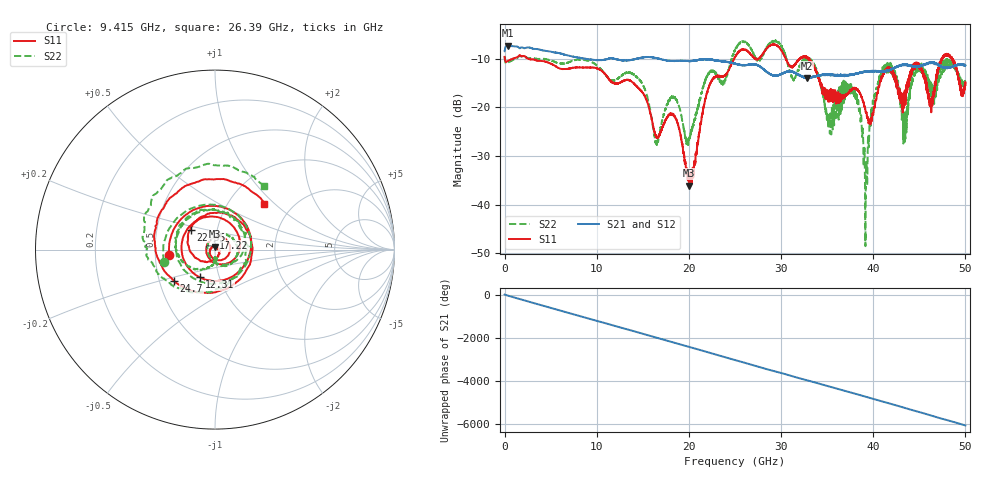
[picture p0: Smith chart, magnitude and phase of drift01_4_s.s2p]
!Created with skrf (http://scikit-rf.org).
# Hz S RI R 50.0
!freq ReS11 ImS11 ReS21 ImS21 ReS12 ImS12 ReS22 ImS22
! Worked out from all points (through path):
!   10001 points, 300 kHz to 50 GHz, reference 50 ohm
!   highest |S21| = -7.33 dB at 320.3 MHz (marker M1); lowest = -14.0 dB at 32.77 GHz (marker M2)
!   group delay of S21, straight-line fit = 335 ps
!   lowest |S11| = -36.1 dB at 20.01 GHz (marker M3), VSWR 1.03, Z = 49.8 + j1.56 ohm
!   |S11| at or under -10 dB: 2.566 GHz to 24.9 GHz (22.34 GHz wide, 163 % of centre); 30.5 GHz to 32.01 GHz (1.512 GHz wide, 4.84 % of centre); 33.05 GHz to 47.41 GHz (14.36 GHz wide, 35.7 % of centre) (the widest 3 of 27)
!   |S22| runs from -48.6 to -6.2 dB; largest |S21 - S12| = 0.0077
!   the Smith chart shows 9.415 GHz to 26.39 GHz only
!   S11 on the Smith chart (normalised r, x): 9.415 GHz: 0.59, -0.04; 12.31 GHz: 0.81, -0.26; 17.22 GHz: 0.98, +0.13; 22.35 GHz: 0.74, +0.17; 24.7 GHz: 0.60, -0.23; 26.39 GHz: 1.45, +0.87
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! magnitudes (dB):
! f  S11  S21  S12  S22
! 300 kHz  -9.6  -8.4  -8.5  -9.5
! 320.3 MHz  -10.5  -7.3  -7.3  -10.9
! 8.335 GHz  -11.8  -9.9  -9.9  -10.2
! 9.415 GHz  -11.8  -10.2  -10.2  -10.7
! 12.31 GHz  -15.1  -10.2  -10.2  -14.1
! 16.67 GHz  -26.3  -10.0  -10.0  -27.0
! 17.22 GHz  -23.7  -10.2  -10.2  -21.8
! 20.01 GHz  -36.1  -10.5  -10.5  -26.8
! 22.35 GHz  -15.1  -10.1  -10.2  -12.6
! 24.7 GHz  -10.8  -10.8  -10.9  -9.7
! 25 GHz  -9.7  -11.0  -11.0  -8.3
! 26.39 GHz  -8.5  -11.3  -11.2  -7.0
! 32.77 GHz  -9.7  -14.0  -13.9  -10.3
! 33.34 GHz  -10.9  -13.8  -13.8  -10.5
! 35.22 GHz  -17.0  -13.3  -13.3  -22.2
! 37.99 GHz  -16.1  -13.1  -13.2  -17.3
! 39.17 GHz  -21.0  -12.7  -12.7  -42.5
! 40.15 GHz  -20.0  -12.5  -12.5  -17.4
! 41.67 GHz  -12.2  -12.3  -12.4  -11.6
! 43.39 GHz  -17.2  -11.2  -11.2  -22.2
! 44.88 GHz  -10.9  -11.6  -11.6  -11.5
! 50 GHz  -15.4  -11.4  -11.4  -15.0
